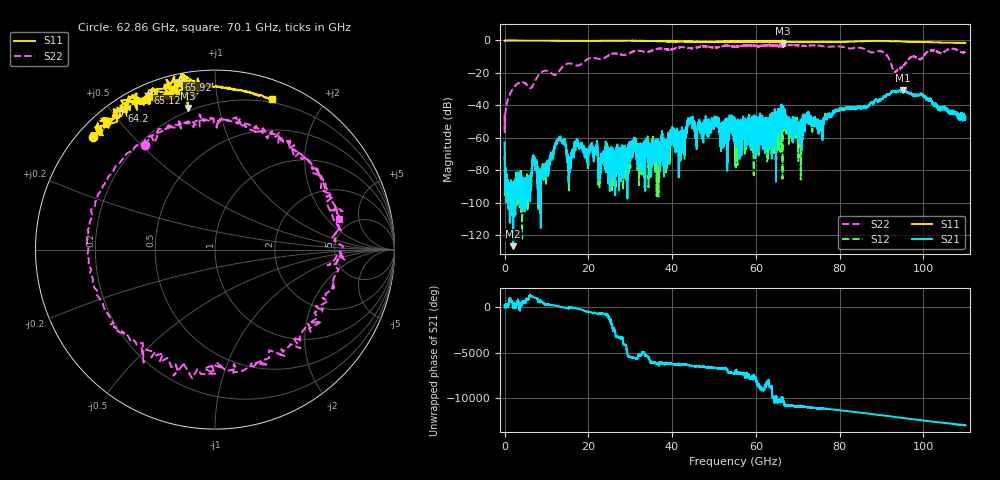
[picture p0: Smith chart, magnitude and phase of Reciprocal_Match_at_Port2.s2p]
#  HZ  S  RI  R  50.00
! Rohde & Schwarz ZVA67 4Ports - Version 4.11 - 1305.7002k04 SN: 101032
! Date: 2026-02-18 15:50:02
! Measurements: S11 S21 S12 S22
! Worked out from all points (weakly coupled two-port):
!   5500 points, 20 MHz to 110 GHz, reference 50 ohm
!   highest |S21| = -30.63 dB at 95.1 GHz (marker M1); lowest = -126.8 dB at 2.08 GHz (marker M2)
!   lowest |S11| = -1.9 dB at 66.5 GHz (marker M3), VSWR 9.19, Z = 9.1 + j40.6 ohm
!   |S11| at or under -10 dB: nowhere
!   |S22| runs from -56.5 to -2.4 dB; largest |S21 - S12| = 0.0099
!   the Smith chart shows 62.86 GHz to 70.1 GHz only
!   S11 on the Smith chart (normalised r, x): 62.86 GHz: 0.04, +0.39; 64.2 GHz: 0.04, +0.53; 65.12 GHz: 0.04, +0.66; 65.92 GHz: 0.03, +0.81; 70.1 GHz: 0.17, +1.44
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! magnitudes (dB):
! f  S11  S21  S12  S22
! 20 MHz  -0.2  -62.9  -71.1  -45.9
! 2.08 GHz  0.0  -126.8  -95.7  -29.5
! 9.68 GHz  -0.1  -82.5  -79.8  -18.6
! 13.06 GHz  -0.2  -60.1  -60.3  -18.8
! 15.42 GHz  -0.2  -76.8  -78.9  -14.1
! 18.36 GHz  -0.2  -63.7  -64.6  -14.5
! 22.8 GHz  -0.2  -73.2  -74.7  -11.5
! 30.88 GHz  -0.1  -62.4  -69.4  -6.6
! 36.68 GHz  -0.4  -60.7  -69.8  -5.0
! 42.02 GHz  -0.6  -74.0  -68.4  -4.1
! 44.42 GHz  -0.7  -50.1  -49.3  -4.7
! 55.02 GHz  -0.6  -53.8  -51.7  -4.0
! 62.86 GHz  -0.7  -48.1  -58.3  -3.1
! 64.2 GHz  -0.6  -45.3  -70.2  -3.0
! 65.12 GHz  -0.4  -53.3  -54.2  -3.4
! 65.92 GHz  -0.3  -49.5  -45.4  -3.6
! 66.5 GHz  -1.9  -40.5  -47.7  -3.1
! 70.1 GHz  -1.0  -57.9  -53.6  -3.0
! 73.34 GHz  -1.0  -51.7  -53.2  -3.1
! 91.68 GHz  -0.4  -33.1  -33.3  -10.8
! 95.1 GHz  -0.6  -30.6  -30.8  -15.5
! 110 GHz  -1.5  -48.5  -46.7  -6.8
